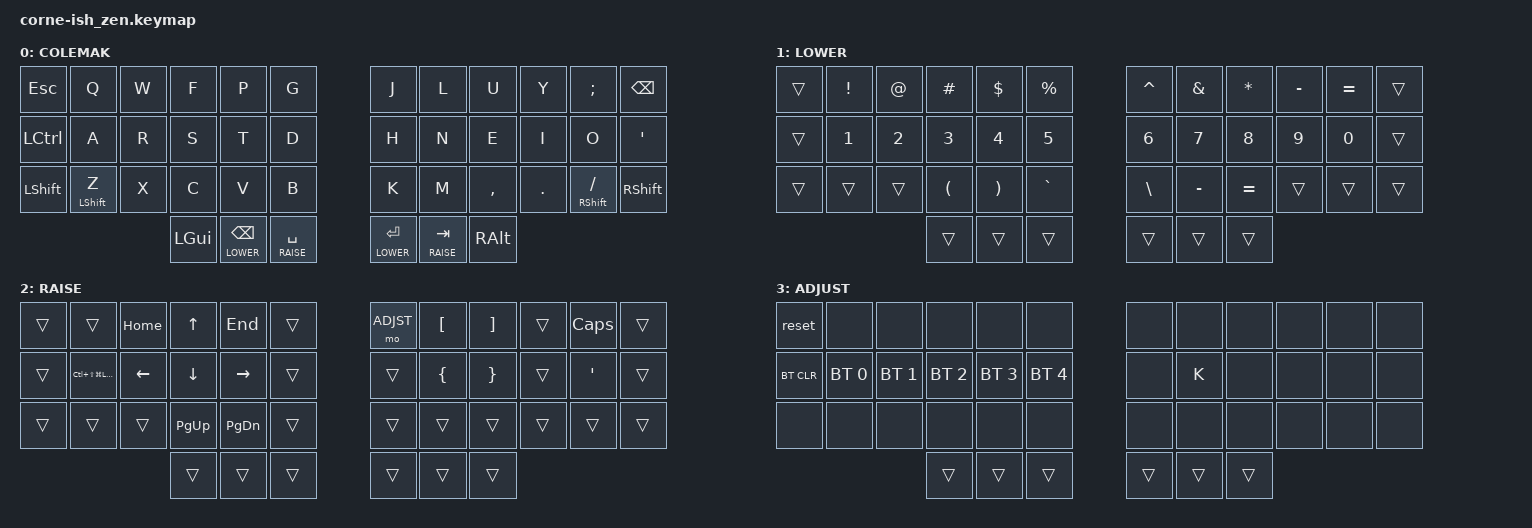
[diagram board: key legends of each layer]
/*
*
* Copyright (c) 2021 Darryl deHaan
* SPDX-License-Identifier: MIT
*
*/

#include <behaviors.dtsi>
#include <dt-bindings/zmk/keys.h>
#include <dt-bindings/zmk/bt.h>

#define DEFAULT 0
#define LOWER   1
#define RAISE   2
#define ADJST   3

#define HYPR    LC(LS(LG(LALT)))

/ {
        keymap {
                compatible = "zmk,keymap";

                default_layer {
                        label = "COLEMAK";
                        bindings = <
   &kp ESC   &kp Q       &kp W &kp F &kp P &kp G   &kp J &kp L  &kp U     &kp Y   &kp SEMI       &kp BSPC
   &kp LCTRL &kp A       &kp R &kp S &kp T &kp D   &kp H &kp N  &kp E     &kp I   &kp O          &kp SQT
   &kp LSHFT &mt LSHFT Z &kp X &kp C &kp V &kp B   &kp K &kp M  &kp COMMA &kp DOT &mt RSHFT FSLH &kp RSHFT
             &kp LGUI &lt LOWER BSPC &lt RAISE SPACE   &lt LOWER RET &lt RAISE TAB &kp RALT
                        >;
                };

                lower_layer {
                        label = "LOWER";
                        bindings = <
   &trans  &kp EXCL  &kp AT    &kp HASH  &kp DLLR  &kp PRCNT &kp CARET &kp AMPS  &kp STAR  &kp MINUS &kp EQUAL &trans
   &trans  &kp N1    &kp N2    &kp N3    &kp N4    &kp N5    &kp N6    &kp N7    &kp N8    &kp N9    &kp N0    &trans
   &trans  &trans    &trans    &kp LPAR  &kp RPAR  &kp GRAVE &kp BSLH  &kp MINUS &kp EQUAL &trans    &trans    &trans
                               &trans    &trans    &trans    &trans    &trans    &trans
                        >;
                };

                raise_layer {
                        label = "RAISE";
                        bindings = <
   &trans  &trans    &kp HOME  &kp UP    &kp END   &trans   &mo ADJST &kp LBKT  &kp RBKT  &trans    &kp CAPS  &trans
   &trans  &kp HYPR  &kp LEFT  &kp DOWN  &kp RIGHT &trans   &trans    &kp LBRC  &kp RBRC  &trans    &kp SQT   &trans
   &trans  &trans    &trans    &kp PG_UP &kp PG_DN &trans   &trans    &trans    &trans    &trans    &trans    &trans
                    	       &trans    &trans    &trans   &trans    &trans    &trans
                        >;
                };

                adjust_layer {
                        label = "ADJUST";
                        bindings = <
   &reset     &none        &none        &none        &none        &none          &none &none &none &none &none &none 
   &bt BT_CLR &bt BT_SEL 0 &bt BT_SEL 1 &bt BT_SEL 2 &bt BT_SEL 3 &bt BT_SEL 4   &none &kp K &none &none &none &none
   &none      &none        &none        &none        &none        &none          &none &none &none &none &none &none
                                        &trans       &trans       &trans         &trans &trans &trans
                        >;
                };

        }; // END KEYMAP

        conditional_layers {
                compatible = "zmk,conditional-layers";
                tri_layer {
                        if-layers = <LOWER RAISE>;
                        then-layer = <ADJST>;
                };
        };
};
